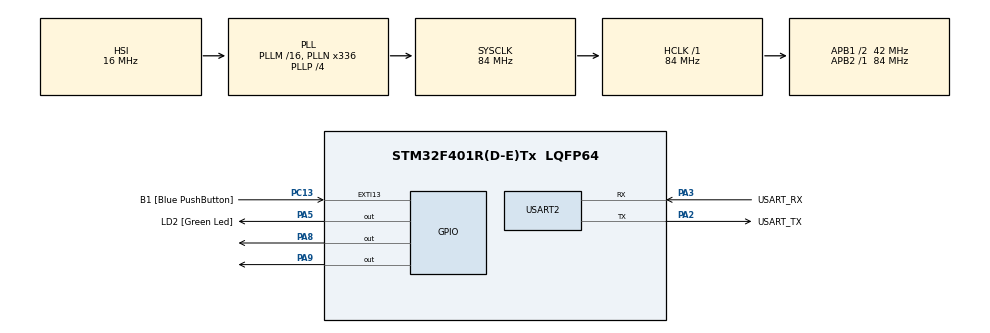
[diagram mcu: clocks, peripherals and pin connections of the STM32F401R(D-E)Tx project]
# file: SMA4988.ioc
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Mcu.Family=STM32F4
Mcu.Name=STM32F401R(D-E)Tx
Mcu.Package=LQFP64
NVIC.PriorityGroup=NVIC_PRIORITYGROUP_0
PA13.GPIO_Label=TMS
PA13.Mode=Serial_Wire
PA13.Signal=SYS_JTMS-SWDIO
PA14.GPIO_Label=TCK
PA14.Mode=Serial_Wire
PA14.Signal=SYS_JTCK-SWCLK
PA2.GPIO_Label=USART_TX
PA2.GPIO_Mode=GPIO_MODE_AF_PP
PA2.GPIO_PuPd=GPIO_NOPULL
PA2.GPIO_Speed=GPIO_SPEED_FREQ_LOW
PA2.Mode=Asynchronous
PA2.Signal=USART2_TX
PA3.GPIO_Label=USART_RX
PA3.GPIO_Mode=GPIO_MODE_AF_PP
PA3.GPIO_PuPd=GPIO_NOPULL
PA3.GPIO_Speed=GPIO_SPEED_FREQ_LOW
PA3.Mode=Asynchronous
PA3.Signal=USART2_RX
PA5.GPIO_Label=LD2 [Green Led]
PA5.GPIO_Mode=GPIO_MODE_OUTPUT_PP
PA5.GPIO_PuPd=GPIO_NOPULL
PA5.GPIO_Speed=GPIO_SPEED_FREQ_LOW
PA5.Signal=GPIO_Output
PA8.Signal=GPIO_Output
PA9.Signal=GPIO_Output
PB3.GPIO_Label=SWO
PB3.Signal=SYS_JTDO-SWO
PC13-ANTI_TAMP.GPIO_Label=B1 [Blue PushButton]
PC13-ANTI_TAMP.GPIO_ModeDefaultEXTI=GPIO_MODE_IT_FALLING
PC13-ANTI_TAMP.GPIO_PuPd=GPIO_NOPULL
PC13-ANTI_TAMP.Signal=GPXTI13
PC14-OSC32_IN.Mode=LSE-External-Oscillator
PC14-OSC32_IN.Signal=RCC_OSC32_IN
PC15-OSC32_OUT.Mode=LSE-External-Oscillator
PC15-OSC32_OUT.Signal=RCC_OSC32_OUT
PH0\ -\ OSC_IN.Mode=HSE-External-Oscillator
PH0\ -\ OSC_IN.Signal=RCC_OSC_IN
PH1\ -\ OSC_OUT.Mode=HSE-External-Oscillator
PH1\ -\ OSC_OUT.Signal=RCC_OSC_OUT
ProjectManager.HeapSize=0x200
ProjectManager.StackSize=0x400
ProjectManager.TargetToolchain=STM32CubeIDE
RCC.48MHZClocksFreq_Value=48000000
RCC.AHBFreq_Value=84000000
RCC.APB1CLKDivider=RCC_HCLK_DIV2
RCC.APB1Freq_Value=42000000
RCC.APB1TimFreq_Value=84000000
RCC.APB2Freq_Value=84000000
RCC.APB2TimFreq_Value=84000000
RCC.CortexFreq_Value=84000000
RCC.HCLKFreq_Value=84000000
RCC.HSE_VALUE=8000000
RCC.HSI_VALUE=16000000
RCC.PLLN=336
RCC.PLLP=RCC_PLLP_DIV4
RCC.PLLQ=7
RCC.SYSCLKFreq_VALUE=84000000
RCC.SYSCLKSource=RCC_SYSCLKSOURCE_PLLCLK
RCC.VCOOutputFreq_Value=336000000
USART2.VirtualMode=VM_ASYNC
VP_TIM1_VS_ClockSourceINT.Mode=Internal
board=NUCLEO-F401RE

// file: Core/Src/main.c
/* USER CODE BEGIN Header */
/**
  ******************************************************************************
  * @file           : main.c
  * @brief          : Main program body
  ******************************************************************************
  * @attention
  *
  * Copyright (c) 2023 STMicroelectronics.
  * All rights reserved.
  *
  * This software is licensed under terms that can be found in the LICENSE file
  * in the root directory of this software component.
  * If no LICENSE file comes with this software, it is provided AS-IS.
  *
  ******************************************************************************
  */
/* USER CODE END Header */
#include "main.h"
#include "tim.h"
#include "usart.h"
#include "gpio.h"

void SystemClock_Config(void);

/* USER CODE BEGIN 0 */
#define DIR_PIN GPIO_PIN_8
#define DIR_PORT GPIOA
#define STEP_PIN GPIO_PIN_9
#define STEP_PORT GPIOA

void microDelay (uint16_t delay)
{
  __HAL_TIM_SET_COUNTER(&htim1, 0);
  while (__HAL_TIM_GET_COUNTER(&htim1) < delay);
}

void step (int steps, uint8_t direction, uint16_t delay)
{
  int x;
  if (direction == 0)
    HAL_GPIO_WritePin(DIR_PORT, DIR_PIN, GPIO_PIN_SET);
  else
    HAL_GPIO_WritePin(DIR_PORT, DIR_PIN, GPIO_PIN_RESET);
  for(x=0; x<steps; x=x+1)
  {
    HAL_GPIO_WritePin(STEP_PORT, STEP_PIN, GPIO_PIN_SET);
    microDelay(delay);
    HAL_GPIO_WritePin(STEP_PORT, STEP_PIN, GPIO_PIN_RESET);
    microDelay(delay);
  }
}
/* USER CODE END 0 */

int main(void)
{

  /* MCU Configuration--------------------------------------------------------*/

  /* Reset of all peripherals, Initializes the Flash interface and the Systick. */
  HAL_Init();

  /* Configure the system clock */
  SystemClock_Config();

  /* Initialize all configured peripherals */
  MX_GPIO_Init();
  MX_USART2_UART_Init();
  MX_TIM1_Init();
  /* USER CODE BEGIN 2 */
  HAL_TIM_Base_Start(&htim1);

  int v = 10; // User Input
  int V = 10;
  int L = 10;
  int c = (v*L)/(V*0.25);
  /* USER CODE END 2 */

  /* Infinite loop */
  /* USER CODE BEGIN WHILE */
   while (1)
   {
     int y;
     for(y=0; y<3200; y=y+1) // 8 times
     {
       step(25, 1, 300); // 25 steps (45 degrees) CCV
       HAL_Delay(1);
     }
     for(y=0; y<3200; y=y+1) // 8 times
          {
            step(25, 0, 300); // 25 steps (45 degrees) CCV
            HAL_Delay(1);
          }
     //step(10, 1, 800); // 800 steps (4 revolutions ) CV
     //HAL_Delay(1000);
     /* USER CODE END WHILE */

   }
  }

void SystemClock_Config(void)
{
  RCC_OscInitTypeDef RCC_OscInitStruct = {0};
  RCC_ClkInitTypeDef RCC_ClkInitStruct = {0};

  /** Configure the main internal regulator output voltage
  */
  __HAL_RCC_PWR_CLK_ENABLE();
  __HAL_PWR_VOLTAGESCALING_CONFIG(PWR_REGULATOR_VOLTAGE_SCALE2);

  /** Initializes the RCC Oscillators according to the specified parameters
  * in the RCC_OscInitTypeDef structure.
  */
  RCC_OscInitStruct.OscillatorType = RCC_OSCILLATORTYPE_HSI;
  RCC_OscInitStruct.HSIState = RCC_HSI_ON;
  RCC_OscInitStruct.HSICalibrationValue = RCC_HSICALIBRATION_DEFAULT;
  RCC_OscInitStruct.PLL.PLLState = RCC_PLL_ON;
  RCC_OscInitStruct.PLL.PLLSource = RCC_PLLSOURCE_HSI;
  RCC_OscInitStruct.PLL.PLLM = 16;
  RCC_OscInitStruct.PLL.PLLN = 336;
  RCC_OscInitStruct.PLL.PLLP = RCC_PLLP_DIV4;
  RCC_OscInitStruct.PLL.PLLQ = 7;
  if (HAL_RCC_OscConfig(&RCC_OscInitStruct) != HAL_OK)
  {
    Error_Handler();
  }

  /** Initializes the CPU, AHB and APB buses clocks
  */
  RCC_ClkInitStruct.ClockType = RCC_CLOCKTYPE_HCLK|RCC_CLOCKTYPE_SYSCLK
                              |RCC_CLOCKTYPE_PCLK1|RCC_CLOCKTYPE_PCLK2;
  RCC_ClkInitStruct.SYSCLKSource = RCC_SYSCLKSOURCE_PLLCLK;
  RCC_ClkInitStruct.AHBCLKDivider = RCC_SYSCLK_DIV1;
  RCC_ClkInitStruct.APB1CLKDivider = RCC_HCLK_DIV2;
  RCC_ClkInitStruct.APB2CLKDivider = RCC_HCLK_DIV1;

  if (HAL_RCC_ClockConfig(&RCC_ClkInitStruct, FLASH_LATENCY_2) != HAL_OK)
  {
    Error_Handler();
  }
}

void Error_Handler(void)
{
  __disable_irq();
  while (1)
  {
  }
}
